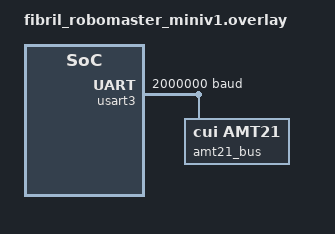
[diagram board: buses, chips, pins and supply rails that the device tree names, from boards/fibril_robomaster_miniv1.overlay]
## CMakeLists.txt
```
# SPDX-License-Identifier: Apache-2.0

cmake_minimum_required(VERSION 3.20.0)
find_package(Zephyr REQUIRED HINTS $ENV{ZEPHYR_BASE})

project(amt21_read LANGUAGES C)

target_sources(app PRIVATE src/main.c)
```

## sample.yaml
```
sample:
  name: AMT21 encoder read
  description: Poll AMT21x absolute encoders on an RS485 bus and log their state.

tests:
  sample.drivers.amt21:
    tags:
      - drivers
      - encoder
    filter: dt_compat_enabled("cui,amt21")
    harness: console
    # A console harness without a configuration is rejected when twister loads
    # the testsuite, so the sample would not even be discovered.
    harness_config:
      type: one_line
      regex:
        - "amt21_read: .*ret=-?\\d+ pos=-?\\d+ .*single=\\d+ turns=-?\\d+"
```

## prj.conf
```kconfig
# SPDX-License-Identifier: Apache-2.0

CONFIG_ENCODER=y

# The AMT21 transport keeps reception permanently enabled through the
# asynchronous UART API, which is backed by DMA on STM32.
CONFIG_UART_ASYNC_API=y

CONFIG_LOG=y

# Print the boot banner and driver init logs on the console. Immediate mode
# processes each LOG_* call synchronously so early messages, before the log
# thread would run, still make it out through the UART.
CONFIG_BOOT_BANNER=y
CONFIG_PRINTK=y
CONFIG_LOG_MODE_IMMEDIATE=y

# Detailed per-cause counters, printed alongside the encoder reading. Trim this
# out if a smaller image matters more than the bus diagnostics.
CONFIG_ENCODER_AMT21_STATS=y

# Interactive commands ("amt21 …") for reading, resetting and dumping the error
# log while the sample is running. Useful when a run degrades over time and you
# want to nudge the encoder without power-cycling the board.
CONFIG_SHELL=y
CONFIG_ENCODER_AMT21_SHELL=y
```

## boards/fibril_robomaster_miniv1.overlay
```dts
/*
 * SPDX-License-Identifier: Apache-2.0
 *
 * AMT21x reader wiring for the Fibril RoboMaster Mini V1. The board DTS already
 * assigns USART3 to the RS485 pins (TX=PB10, RX=PE15, DE=PB14); this overlay
 * switches the port on, attaches DMA, and declares the AMT21x bus.
 */

&usart3 {
	/* 2 Mbps for the A/D options of the AMT21 family. Lower this and raise
	 * response-timeout-us on the amt21 node for the slower E/H options.
	 */
	current-speed = <2000000>;

	/* The transceiver's DE line is driven by the USART itself; toggling it
	 * from software cannot keep up with the 3 us turnaround at 2 Mbps.
	 *
	 * de-assert-time raised to 8 (0.5 bit @ 2 Mbps ~= 250 ns) so the DE line
	 * has settled before the start bit begins. de-deassert-time kept small
	 * so DE drops right after the stop bit, before the encoder starts
	 * replying inside its own 3 us turnaround window.
	 */
	de-enable;
	de-assert-time = <8>;
	de-deassert-time = <2>;

	/* USART3 DMAMUX request lines on STM32G4: 28 for RX, 29 for TX. The
	 * async UART API used by the AMT21 driver needs DMA on STM32.
	 */
	dmas = <&dma1 1 29 (STM32_DMA_PERIPH_TX | STM32_DMA_PRIORITY_HIGH)>,
	       <&dma1 2 28 (STM32_DMA_PERIPH_RX | STM32_DMA_PRIORITY_HIGH)>;
	dma-names = "tx", "rx";

	status = "okay";

	amt21_bus: amt21 {
		compatible = "cui,amt21";
		#address-cells = <1>;
		#size-cells = <0>;

		/* Values that ran clean on the bring-up hardware. The timeouts,
		 * inter-command gap and retry count are more generous than the
		 * binding defaults so the sample keeps running through short
		 * bursts of noise or retries. Tighten them once the bus is clean.
		 */
		poll-interval-us = <1000>;
		response-timeout-us = <500>;
		inter-command-delay-us = <300>;
		rx-quiet-period-us = <100>;
		max-retries = <3>;
		offline-threshold = <5>;

		encoder_left: encoder@54 {
			compatible = "cui,amt21-encoder";
			reg = <0x54>;
			resolution = <14>;
		};
	};
};

&dma1 {
	status = "okay";
};

&dmamux1 {
	status = "okay";
};
```

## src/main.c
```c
/*
 * SPDX-License-Identifier: Apache-2.0
 *
 * Minimal AMT21x reader. Enumerates every cui,amt21-encoder child that the
 * devicetree marks status = "okay" and prints its feedback once per second.
 */

#include <inttypes.h>
#include <stdlib.h>

#include <drivers/encoder.h>
#include <drivers/encoder/amt21.h>
#include <zephyr/device.h>
#include <zephyr/devicetree.h>
#include <zephyr/kernel.h>
#include <zephyr/logging/log.h>

LOG_MODULE_REGISTER(amt21_read, LOG_LEVEL_INF);

#define REPORT_PERIOD K_MSEC(1000)

#define ENCODER_LIST_ENTRY(node_id) DEVICE_DT_GET(node_id),

static const struct device * const encoders[] = {
	DT_FOREACH_STATUS_OKAY(cui_amt21_encoder, ENCODER_LIST_ENTRY)
};

BUILD_ASSERT(ARRAY_SIZE(encoders) > 0,
	     "Enable at least one cui,amt21-encoder node in the devicetree");

static void report(const struct device * dev)
{
	struct encoder_feedback fb;
	int ret = encoder_get_feedback(dev, &fb);

	/* A stale reading still carries the last good value, so it is worth
	 * printing along with the reason it is not fresh.
	 */
	/* Velocity has no value until a second reading gives it an interval to be
	 * measured over, so printing it unconditionally would show a stale number
	 * after every rebuild of the accumulator.
	 */
	if ((fb.valid_mask & ENCODER_FEEDBACK_VELOCITY) != 0U) {
		LOG_INF("%s: ret=%d pos=%" PRId64 " vel=%d single=%u turns=%d epoch=%u online=%d "
			"stale=%d errors=%u",
			dev->name, ret, fb.position, fb.velocity, fb.single_turn, fb.turns,
			fb.position_epoch, (int)fb.online, (int)fb.stale, fb.error_count);
	} else {
		LOG_INF("%s: ret=%d pos=%" PRId64 " vel=n/a single=%u turns=%d epoch=%u online=%d "
			"stale=%d errors=%u",
			dev->name, ret, fb.position, fb.single_turn, fb.turns,
			fb.position_epoch, (int)fb.online, (int)fb.stale, fb.error_count);
	}

#if defined(CONFIG_ENCODER_AMT21_STATS)
	struct amt21_stats stats;

	if (amt21_get_stats(dev, &stats) == 0) {
		LOG_INF("  transactions=%u ok=%u timeout=%u checksum=%u desync=%u echo=%u bus=%u retries=%u",
			stats.transactions, stats.successes,
			stats.errors[AMT21_ERROR_TIMEOUT],
			stats.errors[AMT21_ERROR_CHECKSUM],
			stats.errors[AMT21_ERROR_DESYNC],
			stats.errors[AMT21_ERROR_ECHO],
			stats.errors[AMT21_ERROR_BUS],
			stats.retries);
	}
#endif
}

int main(void)
{
	for (size_t i = 0; i < ARRAY_SIZE(encoders); ++i) {
		if (!device_is_ready(encoders[i])) {
			LOG_ERR("%s is not ready", encoders[i]->name);
			return -ENODEV;
		}
	}

	while (true) {
		for (size_t i = 0; i < ARRAY_SIZE(encoders); ++i) {
			report(encoders[i]);
		}
		k_sleep(REPORT_PERIOD);
	}

	return 0;
}
```
